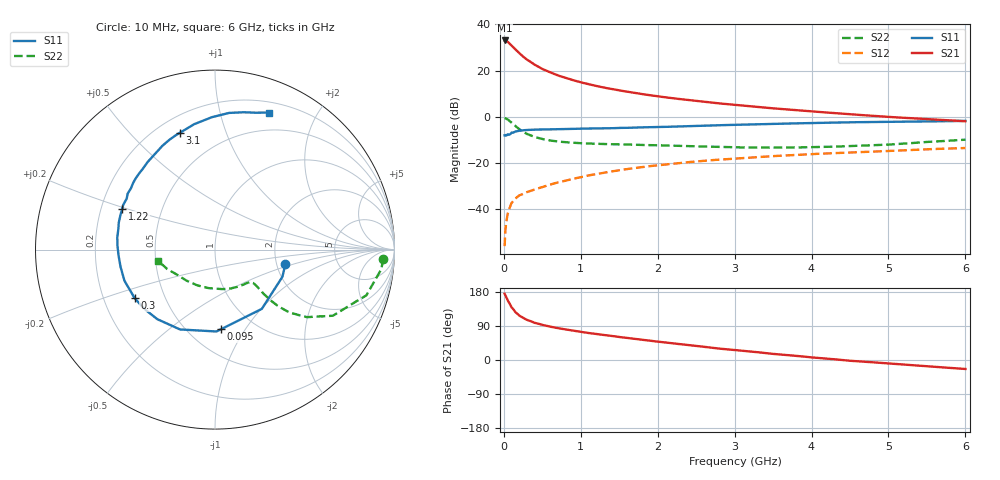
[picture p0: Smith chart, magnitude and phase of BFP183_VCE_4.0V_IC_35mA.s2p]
! Infineon Technologies  Discrete & RF Semiconductors
! BFP183
! VCE = 4.0 V,  IC =  35 mA
! Common Emitter S-Parameters:  Jan 2016
# GHz  S  MA  R  50
!  f  S11  S21  S12  S22
! GHz  MAG  ANG  MAG  ANG  MAG  ANG  MAG  ANG
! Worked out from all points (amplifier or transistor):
!   210 points, 10 MHz to 6 GHz, reference 50 ohm
!   highest |S21| = 33.1 dB at 10 MHz (marker M1)
!   |S21| within 3 dB of that: start of sweep to 125.1 MHz
!   unconditionally stable (mu >= 1): 587.4 MHz to 5.741 GHz
!   at 185 MHz: K = 0.51, MSG = 31.2 dB, |S12| = -34.4 dB
!   at 1.52 GHz: K = 1.18, MAG = 14.6 dB, |S12| = -23.0 dB
!   at 6 GHz: K = 0.96, MSG = 5.8 dB, |S12| = -13.5 dB
!   S11 on the Smith chart (normalised r, x): 10 MHz: 2.24, -0.41; 95 MHz: 0.71, -0.78; 300 MHz: 0.33, -0.25; 1.22 GHz: 0.29, +0.19; 3.1 GHz: 0.29, +0.70; 6 GHz: 0.31, +1.42
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0.01  0.4001 -11.2  44.97 175.1  0.0016 83.2  0.9394 -3.1
0.02  0.4051 -21.9  44.83 170.6  0.0035 81.8  0.9325 -6.8
0.05  0.4209 -51.7  42.22 157.0  0.008 76.8  0.881 -16.8
0.095  0.4449 -85.7  35.71 141.3  0.0131 61.5  0.7638 -27.9
0.1  0.4563 -89.0  35.19 139.2  0.0137 60.5  0.7528 -29.3
0.15  0.4856 -113.6  28.9 126.3  0.0171 56.2  0.6339 -36.4
0.2  0.5035 -129.6  23.92 117.3  0.02 53.8  0.5436 -40.2
0.26  0.5154 -142.1  19.59 109.8  0.0219 51.5  0.4672 -41.9
0.3  0.5231 -149.0  17.37 105.9  0.0236 52.3  0.4283 -42.3
0.4  0.5335 -161.0  13.46 98.1  0.0269 53.4  0.3679 -42.3
0.5  0.5349 -169.6  10.88 92.5  0.0303 54.3  0.3314 -41.7
0.6  0.5385 -176.6  9.223 88.0  0.0343 55.8  0.3082 -41.2
0.7  0.5439 177.7  7.893 84.1  0.0381 57.0  0.2936 -41.0
0.8  0.5486 172.9  6.984 80.6  0.0416 57.6  0.2836 -41.1
1.02  0.5574 163.5  5.489 73.7  0.0504 58.3  0.269 -42.4
1.22  0.5651 156.2  4.592 68.3  0.0585 58.0  0.2619 -44.4
1.5  0.5781 147.3  3.74 60.7  0.0702 57.0  0.2543 -48.4
2.02  0.603 132.1  2.755 48.1  0.0905 53.0  0.2429 -58.3
3.1  0.679 106.9  1.757 24.4  0.1289 42.9  0.2186 -86.9
4.1  0.7424 89.9  1.279 5.3  0.1594 33.5  0.2231 -119.5
5.1  0.7842 77.2  0.977 -10.6  0.186 25.5  0.2577 -148.4
6  0.8199 68.6  0.805 -23.7  0.2124 17.0  0.3215 -168.4
